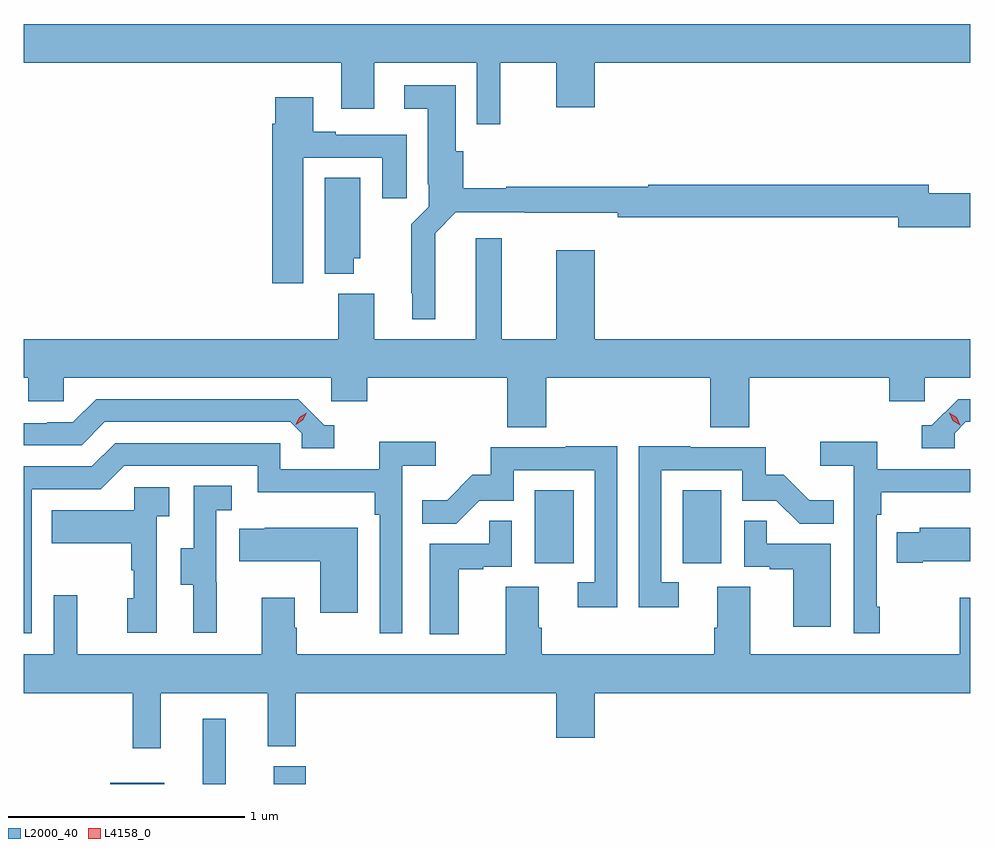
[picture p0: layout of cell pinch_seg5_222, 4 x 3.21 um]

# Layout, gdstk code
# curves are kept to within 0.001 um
import gdstk
lib = gdstk.Library(unit=1e-6, precision=1e-09)
def R(c, l, rs):  # rectangles x0, y0, x1, y1
    for r in rs: c.add(gdstk.rectangle(r[:2], r[2:], *l))
def P(c, l, *ps):  # polygons
    for p in ps: c.add(gdstk.Polygon(p, *l))
L2000_40 = (2000, 40)
L4158_0 = (4158, 0)

pinch_seg5_222 = lib.new_cell('pinch_seg5_222')
R(pinch_seg5_222, L2000_40, [(978.308,893.672,978.535,893.677), (978.698,893.672,978.795,893.947), (978.998,893.672,979.133,893.746), (980.102,894.606,980.266,894.913), (980.726,894.606,980.89,894.913)])
P(pinch_seg5_222, L2000_40, [(979.956,896.72),(980.192,896.72),(980.192,896.532),(980.356,896.532),(980.356,896.72),(981.942,896.72),(981.942,896.884),(977.942,896.884),(977.942,896.72),(979.283,896.72),(979.283,896.526),(979.423,896.526),(979.423,896.72),(979.857,896.72),(979.857,896.46),(979.956,896.46)],
  [(979.681,896),(979.768,896.088),(980.452,896.087),(980.452,896.068),(981.638,896.068),(981.638,896.026),(981.942,896.026),(981.942,896.168),(981.766,896.168),(981.766,896.204),(980.582,896.204),(980.582,896.197),(979.982,896.197),(979.982,896.189),(979.799,896.189),(979.799,896.346),(979.768,896.346),(979.768,896.626),(979.551,896.626),(979.551,896.525),(979.649,896.525),(979.649,896.206),(979.653,896.206),(979.653,896.112),(979.579,896.038),(979.579,895.747),(979.583,895.747),(979.583,895.637),(979.681,895.637)],
  [(979.123,896.319),(979.457,896.319),(979.457,896.148),(979.561,896.148),(979.561,896.415),(979.261,896.415),(979.261,896.428),(979.165,896.428),(979.165,896.575),(979.004,896.575),(979.004,896.462),(978.992,896.462),(978.992,895.788),(979.123,895.788)],
  [(979.336,895.893),(979.363,895.893),(979.363,896.234),(979.214,896.234),(979.214,895.829),(979.336,895.829)],
  [(980.15,895.388),(980.843,895.388),(980.843,895.18),(981.008,895.18),(981.008,895.388),(981.599,895.388),(981.599,895.29),(981.75,895.29),(981.75,895.388),(981.942,895.388),(981.942,895.552),(980.356,895.552),(980.356,895.927),(980.192,895.927),(980.192,895.552),(979.963,895.552),(979.963,895.978),(979.853,895.978),(979.853,895.552),(979.423,895.552),(979.423,895.744),(979.271,895.744),(979.271,895.552),(977.942,895.552),(977.942,895.388),(977.961,895.388),(977.961,895.29),(978.111,895.29),(978.111,895.388),(979.242,895.388),(979.242,895.29),(979.394,895.29),(979.394,895.388),(979.985,895.388),(979.985,895.18),(980.15,895.18)],
  [(981.876,895.155),(981.924,895.203),(981.942,895.203),(981.942,895.299),(981.891,895.299),(981.78,895.188),(981.737,895.188),(981.737,895.092),(981.876,895.092)],
  [(979.255,895.188),(979.212,895.188),(979.101,895.299),(978.248,895.299),(978.149,895.2),(978.042,895.2),(978.042,895.197),(977.942,895.197),(977.942,895.104),(978.186,895.104),(978.285,895.203),(979.068,895.203),(979.116,895.155),(979.116,895.092),(979.255,895.092)],
  [(981.559,894.421),(981.546,894.421),(981.546,894.809),(981.566,894.809),(981.566,894.905),(981.942,894.905),(981.942,895.002),(981.548,895.002),(981.548,895.118),(981.309,895.118),(981.309,895.016),(981.45,895.016),(981.45,894.309),(981.559,894.309)],
  [(977.976,894.918),(978.267,894.918),(978.366,895.017),(978.93,895.017),(978.93,894.905),(979.426,894.905),(979.426,894.809),(979.446,894.809),(979.446,894.309),(979.542,894.309),(979.542,895.016),(979.684,895.016),(979.684,895.118),(979.445,895.118),(979.445,895.002),(979.026,895.002),(979.026,895.113),(978.329,895.113),(978.23,895.014),(977.942,895.014),(977.942,894.309),(977.976,894.309)],
  [(980.451,895.1),(980.233,895.1),(980.233,895.095),(979.915,895.095),(979.915,894.978),(979.838,894.978),(979.731,894.871),(979.627,894.871),(979.627,894.772),(979.77,894.772),(979.868,894.87),(980.013,894.87),(980.013,894.999),(980.355,894.999),(980.355,894.525),(980.283,894.525),(980.283,894.42),(980.451,894.42)],
  [(980.71,894.525),(980.637,894.525),(980.637,894.999),(980.979,894.999),(980.979,894.87),(981.123,894.87),(981.221,894.772),(981.365,894.772),(981.365,894.871),(981.261,894.871),(981.154,894.978),(981.078,894.978),(981.078,895.095),(980.759,895.095),(980.759,895.1),(980.541,895.1),(980.541,894.42),(980.71,894.42)],
  [(978.758,894.525),(978.756,894.525),(978.756,894.829),(978.82,894.829),(978.82,894.932),(978.66,894.932),(978.66,894.669),(978.605,894.669),(978.605,894.514),(978.659,894.514),(978.659,894.312),(978.758,894.312)],
  [(978.504,894.803),(978.556,894.803),(978.556,894.927),(978.408,894.927),(978.408,894.829),(978.061,894.829),(978.061,894.689),(978.396,894.689),(978.396,894.575),(978.406,894.575),(978.406,894.456),(978.38,894.456),(978.38,894.312),(978.504,894.312)],
  [(979.78,894.579),(979.883,894.579),(979.883,894.591),(980.004,894.591),(980.004,894.785),(979.909,894.785),(979.909,894.687),(979.658,894.687),(979.658,894.305),(979.78,894.305)],
  [(981.352,894.687),(981.083,894.687),(981.083,894.785),(980.988,894.785),(980.988,894.591),(981.095,894.591),(981.095,894.579),(981.194,894.579),(981.194,894.336),(981.352,894.336)],
  [(981.742,894.614),(981.942,894.614),(981.942,894.754),(981.729,894.754),(981.729,894.736),(981.631,894.736),(981.631,894.607),(981.742,894.607)],
  [(979.354,894.754),(978.961,894.754),(978.961,894.751),(978.853,894.751),(978.853,894.614),(979.196,894.614),(979.196,894.396),(979.354,894.396)],
  [(978.521,894.056),(978.974,894.056),(978.974,893.831),(979.091,893.831),(979.091,894.056),(980.192,894.056),(980.192,893.868),(980.356,893.868),(980.356,894.056),(981.942,894.056),(981.942,894.46),(981.898,894.46),(981.898,894.22),(981.013,894.22),(981.013,894.506),(980.873,894.506),(980.873,894.332),(980.861,894.332),(980.861,894.22),(980.132,894.22),(980.132,894.332),(980.119,894.332),(980.119,894.506),(979.979,894.506),(979.979,894.22),(979.095,894.22),(979.095,894.332),(979.087,894.332),(979.087,894.46),(978.947,894.46),(978.947,894.22),(978.167,894.22),(978.167,894.469),(978.069,894.469),(978.069,894.22),(977.942,894.22),(977.942,894.056),(978.403,894.056),(978.403,893.823),(978.521,893.823)])
P(pinch_seg5_222, L4158_0, [(981.899,895.188),(981.868,895.208),(981.853,895.241),(981.853,895.241),(981.853,895.241),(981.884,895.221),(981.899,895.188),(981.899,895.188)],
  [(979.091,895.19),(979.091,895.191),(979.107,895.223),(979.137,895.242),(979.138,895.242),(979.138,895.242),(979.122,895.209),(979.091,895.19)])

lib.write_gds('pinch_seg5_222.gds')
